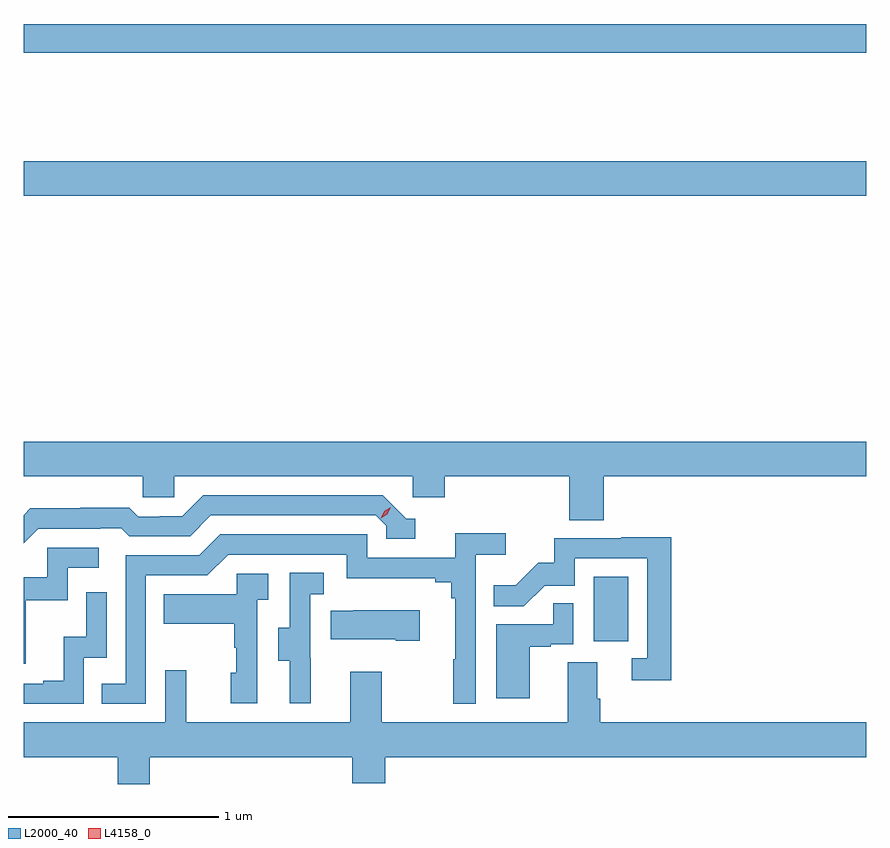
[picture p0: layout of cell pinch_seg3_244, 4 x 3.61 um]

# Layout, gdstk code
import gdstk
lib = gdstk.Library(unit=1e-6, precision=1e-09)
def R(c, l, rs):  # rectangles x0, y0, x1, y1
    for r in rs: c.add(gdstk.rectangle(r[:2], r[2:], *l))
def P(c, l, *ps):  # polygons
    for p in ps: c.add(gdstk.Polygon(p, *l))
L2000_40 = (2000, 40)
L4158_0 = (4158, 0)

pinch_seg3_244 = lib.new_cell('pinch_seg3_244')
R(pinch_seg3_244, L2000_40, [(918.164,742.758,918.328,743.065), (915.458,744.872,919.458,745.036), (915.458,745.552,919.458,745.688)])
P(pinch_seg3_244, L2000_40, [(918.212,743.54),(919.458,743.54),(919.458,743.704),(915.458,743.704),(915.458,743.54),(916.023,743.54),(916.023,743.442),(916.173,743.442),(916.173,743.54),(917.304,743.54),(917.304,743.442),(917.456,743.442),(917.456,743.54),(918.047,743.54),(918.047,743.332),(918.212,743.332)],
  [(915.528,743.292),(915.821,743.292),(915.821,743.295),(915.92,743.295),(915.959,743.256),(916.248,743.256),(916.347,743.355),(917.13,743.355),(917.178,743.307),(917.178,743.244),(917.317,743.244),(917.317,743.34),(917.274,743.34),(917.163,743.451),(916.31,743.451),(916.211,743.352),(916.104,743.352),(916.104,743.349),(916.001,743.349),(915.959,743.392),(915.726,743.392),(915.726,743.389),(915.49,743.389),(915.458,743.357),(915.458,743.222)],
  [(916.038,743.07),(916.329,743.07),(916.428,743.169),(916.992,743.169),(916.992,743.057),(917.411,743.057),(917.411,743.038),(917.488,743.038),(917.488,742.961),(917.507,742.961),(917.507,742.673),(917.496,742.673),(917.496,742.461),(917.604,742.461),(917.604,743.168),(917.746,743.168),(917.746,743.27),(917.507,743.27),(917.507,743.154),(917.088,743.154),(917.088,743.265),(916.391,743.265),(916.292,743.166),(915.942,743.166),(915.942,742.557),(915.829,742.557),(915.829,742.461),(916.038,742.461)],
  [(918.533,743.252),(918.295,743.252),(918.295,743.247),(917.977,743.247),(917.977,743.13),(917.9,743.13),(917.793,743.023),(917.689,743.023),(917.689,742.924),(917.833,742.924),(917.931,743.022),(918.075,743.022),(918.075,743.151),(918.417,743.151),(918.417,742.677),(918.345,742.677),(918.345,742.572),(918.533,742.572)],
  [(915.467,742.953),(915.666,742.953),(915.666,743.106),(915.814,743.106),(915.814,743.202),(915.57,743.202),(915.57,743.061),(915.458,743.061),(915.458,742.65),(915.467,742.65)],
  [(916.82,742.677),(916.818,742.677),(916.818,742.981),(916.882,742.981),(916.882,743.084),(916.722,743.084),(916.722,742.821),(916.667,742.821),(916.667,742.666),(916.721,742.666),(916.721,742.464),(916.82,742.464)],
  [(916.566,742.955),(916.618,742.955),(916.618,743.079),(916.47,743.079),(916.47,742.981),(916.123,742.981),(916.123,742.841),(916.458,742.841),(916.458,742.727),(916.468,742.727),(916.468,742.608),(916.442,742.608),(916.442,742.464),(916.566,742.464)],
  [(915.744,742.68),(915.852,742.68),(915.852,742.99),(915.756,742.99),(915.756,742.778),(915.647,742.778),(915.647,742.57),(915.551,742.57),(915.551,742.557),(915.458,742.557),(915.458,742.461),(915.744,742.461)],
  [(917.86,742.731),(917.96,742.731),(917.96,742.743),(918.066,742.743),(918.066,742.937),(917.971,742.937),(917.971,742.839),(917.702,742.839),(917.702,742.488),(917.86,742.488)],
  [(917.338,742.906),(917.023,742.906),(917.023,742.903),(916.915,742.903),(916.915,742.766),(917.225,742.766),(917.225,742.759),(917.338,742.759)],
  [(916.057,742.208),(917.017,742.208),(917.017,742.084),(917.174,742.084),(917.174,742.208),(919.458,742.208),(919.458,742.372),(918.194,742.372),(918.194,742.484),(918.181,742.484),(918.181,742.658),(918.041,742.658),(918.041,742.372),(917.157,742.372),(917.157,742.612),(917.009,742.612),(917.009,742.372),(916.229,742.372),(916.229,742.621),(916.131,742.621),(916.131,742.372),(915.458,742.372),(915.458,742.208),(915.905,742.208),(915.905,742.08),(916.057,742.08)])
P(pinch_seg3_244, L4158_0, [(917.154,743.341),(917.154,743.342),(917.17,743.374),(917.201,743.393),(917.201,743.393),(917.201,743.393),(917.185,743.36),(917.154,743.341)])

lib.write_gds('pinch_seg3_244.gds')
